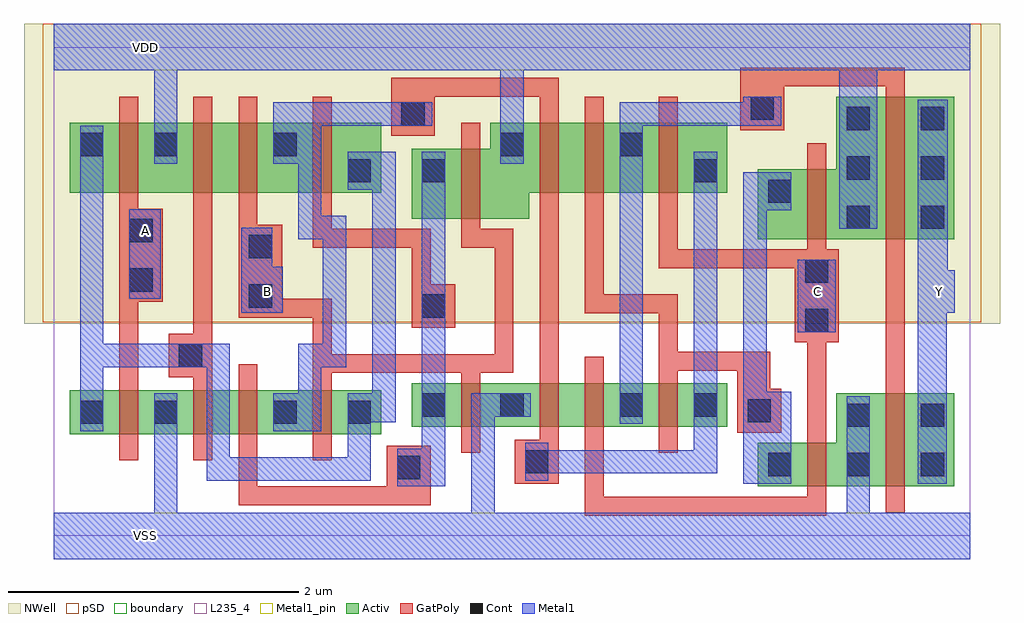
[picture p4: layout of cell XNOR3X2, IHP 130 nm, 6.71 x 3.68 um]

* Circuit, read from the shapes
.subckt XNOR3X2 A B C VDD VSS Y
XM1 VSS A n1 VSUBS sg13_lv_nmos w=0.3u l=0.13u
XM2 n2 n1 VSS VSUBS sg13_lv_nmos w=0.3u l=0.13u
XM3 n3 n4 n2 VSUBS sg13_lv_nmos w=0.3u l=0.13u
XM4 n1 B n3 VSUBS sg13_lv_nmos w=0.3u l=0.13u
XM5 VSS B n4 VSUBS sg13_lv_nmos w=0.3u l=0.13u
XM6 n5 n3 VSS VSUBS sg13_lv_nmos w=0.3u l=0.13u
XM7 n6 C n5 VSUBS sg13_lv_nmos w=0.3u l=0.13u
XM8 n3 n7 n6 VSUBS sg13_lv_nmos w=0.3u l=0.13u
XM9 VSS C n7 VSUBS sg13_lv_nmos w=0.3u l=0.13u
XM10 Y n6 VSS VSUBS sg13_lv_nmos w=0.64u l=0.13u
XM11 VDD A n1 n8 sg13_lv_pmos w=0.48u l=0.13u
XM12 n9 n1 VDD n8 sg13_lv_pmos w=0.48u l=0.13u
XM13 n3 B n9 n8 sg13_lv_pmos w=0.48u l=0.13u
XM14 n1 n4 n3 n8 sg13_lv_pmos w=0.48u l=0.13u
XM15 VDD B n4 n8 sg13_lv_pmos w=0.48u l=0.13u
XM16 n10 n3 VDD n8 sg13_lv_pmos w=0.48u l=0.13u
XM17 n6 n7 n10 n8 sg13_lv_pmos w=0.48u l=0.13u
XM18 n3 C n6 n8 sg13_lv_pmos w=0.48u l=0.13u
XM19 VDD C n7 n8 sg13_lv_pmos w=0.48u l=0.13u
XM20 Y n6 VDD n8 sg13_lv_pmos w=0.98u l=0.13u
.ends

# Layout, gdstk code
import gdstk
lib = gdstk.Library(unit=1e-6, precision=1e-09)
def R(c, l, rs):  # rectangles x0, y0, x1, y1
    for r in rs: c.add(gdstk.rectangle(r[:2], r[2:], *l))
def A(c, l, x, y, w, h, nx, ny, dx, dy):  # array of equal rectangles
    R(c, l, [(x+i*dx, y+j*dy, x+i*dx+w, y+j*dy+h) for i in range(nx) for j in range(ny)])
def P(c, l, *ps):  # polygons
    for p in ps: c.add(gdstk.Polygon(p, *l))
Activ = (1, 0)
GatPoly = (5, 0)
Cont = (6, 0)
Metal1 = (8, 0)
Metal1_pin = (8, 2)
pSD = (14, 0)
NWell = (31, 0)
boundary = (189, 4)
L235_4 = (235, 4)

xnor3x2 = lib.new_cell('XNOR3X2')
R(xnor3x2, Activ, [(0.11,0.7,2.25,1), (2.46,0.75,4.63,1.05), (0.11,2.36,2.25,2.84)])
P(xnor3x2, Activ, [(4.84,0.34),(4.84,0.64),(5.38,0.64),(5.38,0.98),(6.19,0.98),(6.19,0.34)],
  [(4.84,2.04),(4.84,2.52),(5.38,2.52),(5.38,3.02),(6.19,3.02),(6.19,2.04)],
  [(2.46,2.18),(2.46,2.66),(3,2.66),(3,2.84),(4.63,2.84),(4.63,2.36),(3.27,2.36),(3.27,2.18)])
P(xnor3x2, GatPoly, [(3.65,0.14),(3.65,1.23),(3.78,1.23),(3.78,0.27),(5.18,0.27),(5.18,1.33),(5.095,1.33),(5.095,1.84),(4.16,1.84),(4.16,3.02),(4.29,3.02),(4.29,1.97),(5.18,1.97),(5.18,2.7),(5.31,2.7),(5.31,1.97),(5.395,1.97),(5.395,1.33),(5.31,1.33),(5.31,0.14)],
  [(0.45,0.52),(0.45,3.02),(0.58,3.02),(0.58,2.25),(0.75,2.25),(0.75,1.61),(0.58,1.61),(0.58,0.52)],
  [(1.78,0.52),(1.78,1.5),(1.27,1.5),(1.27,3.02),(1.4,3.02),(1.4,2.14),(1.57,2.14),(1.57,1.63),(1.91,1.63),(1.91,1.25),(3.03,1.25),(3.03,1.98),(2.8,1.98),(2.8,2.84),(2.93,2.84),(2.93,2.11),(3.16,2.11),(3.16,1.12),(2.93,1.12),(2.93,0.57),(2.8,0.57),(2.8,1.12),(1.91,1.12),(1.91,0.52)],
  [(5.72,0.16),(5.72,3.09),(5.02,3.09),(5.02,2.79),(4.72,2.79),(4.72,3.22),(5.85,3.22),(5.85,0.16)],
  [(4.16,0.57),(4.16,1.53),(3.65,1.53),(3.65,3.02),(3.78,3.02),(3.78,1.66),(4.29,1.66),(4.29,1.265),(4.925,1.265),(4.925,1.01),(5,1.01),(5,0.71),(4.7,0.71),(4.7,1.135),(4.29,1.135),(4.29,0.57)],
  [(3.17,0.36),(3.17,0.66),(3.34,0.66),(3.34,3.02),(2.62,3.02),(2.62,2.75),(2.32,2.75),(2.32,3.15),(3.47,3.15),(3.47,0.36)],
  [(2.46,1.43),(2.46,1.98),(1.78,1.98),(1.78,3.02),(1.91,3.02),(1.91,2.11),(2.59,2.11),(2.59,1.73),(2.76,1.73),(2.76,1.43)],
  [(1.27,0.21),(1.27,1.18),(1.4,1.18),(1.4,0.34),(2.29,0.34),(2.29,0.62),(2.59,0.62),(2.59,0.21)],
  [(0.96,0.52),(0.96,1.09),(0.79,1.09),(0.79,1.39),(0.96,1.39),(0.96,3.02),(1.09,3.02),(1.09,0.52)])
A(xnor3x2, Cont, 5.45, 2.11, 0.16, 0.16, 1, 3, 0, 0.34)
A(xnor3x2, Cont, 5.96, 2.11, 0.16, 0.16, 1, 3, 0, 0.34)
R(xnor3x2, Cont, [(2.36,0.39,2.52,0.55), (4.91,0.41,5.07,0.57), (5.45,0.41,5.61,0.57), (5.96,0.41,6.12,0.57), (3.24,0.43,3.4,0.59), (5.45,0.75,5.61,0.91), (5.96,0.75,6.12,0.91), (0.18,0.77,0.34,0.93), (0.69,0.77,0.85,0.93), (1.51,0.77,1.67,0.93), (2.02,0.77,2.18,0.93), (4.77,0.78,4.93,0.94), (2.53,0.82,2.69,0.98), (3.07,0.82,3.23,0.98), (3.89,0.82,4.05,0.98), (4.4,0.82,4.56,0.98), (0.86,1.16,1.02,1.32), (5.165,1.4,5.325,1.56), (2.53,1.5,2.69,1.66), (1.34,1.57,1.5,1.73), (0.52,1.68,0.68,1.84), (5.165,1.74,5.325,1.9), (1.34,1.91,1.5,2.07), (0.52,2.02,0.68,2.18), (4.91,2.29,5.07,2.45), (2.02,2.43,2.18,2.59), (2.53,2.43,2.69,2.59), (4.4,2.43,4.56,2.59), (0.18,2.61,0.34,2.77), (0.69,2.61,0.85,2.77), (1.51,2.61,1.67,2.77), (3.07,2.61,3.23,2.77), (3.89,2.61,4.05,2.77), (2.39,2.82,2.55,2.98), (4.79,2.86,4.95,3.02)])
R(xnor3x2, Metal1, [(5.115,1.4,5.375,1.9), (0.52,1.63,0.735,2.245)])
P(xnor3x2, Metal1, [(1.29,1.535),(1.29,2.12),(1.5,2.12),(1.5,1.85),(1.575,1.85),(1.575,1.535)],
  [(5.94,0.36),(5.94,3),(6.145,3),(6.145,1.825),(6.195,1.825),(6.195,1.535),(6.14,1.535),(6.14,0.36)],
  [(0,-0.16),(0,0.16),(0.69,0.16),(0.69,0.98),(0.85,0.98),(0.85,0.16),(2.87,0.16),(2.87,0.98),(3.28,0.98),(3.28,0.82),(3.03,0.82),(3.03,0.16),(5.45,0.16),(5.45,0.96),(5.61,0.96),(5.61,0.16),(6.3,0.16),(6.3,-0.16)],
  [(5.4,2.11),(5.4,3.2),(3.23,3.2),(3.23,2.56),(3.07,2.56),(3.07,3.2),(0.85,3.2),(0.85,2.56),(0.69,2.56),(0.69,3.2),(0,3.2),(0,3.52),(6.3,3.52),(6.3,3.2),(5.66,3.2),(5.66,2.11)],
  [(4.74,0.36),(4.74,2.5),(5.07,2.5),(5.07,2.24),(4.9,2.24),(4.9,0.99),(5.07,0.99),(5.07,0.36)],
  [(3.89,0.77),(3.89,2.98),(4.74,2.98),(4.74,3.02),(5,3.02),(5,2.82),(4.05,2.82),(4.05,0.77)],
  [(3.24,0.38),(3.24,0.64),(3.4,0.64),(3.4,0.59),(4.4,0.59),(4.4,2.64),(4.56,2.64),(4.56,0.43),(3.4,0.43),(3.4,0.38)],
  [(2.36,0.34),(2.36,0.6),(2.53,0.6),(2.53,2.64),(2.69,2.64),(2.69,0.34)],
  [(1.51,0.72),(1.51,0.98),(1.68,0.98),(1.68,1.32),(1.85,1.32),(1.85,2.04),(1.68,2.04),(1.68,2.56),(1.51,2.56),(1.51,2.98),(2.6,2.98),(2.6,2.82),(1.84,2.82),(1.84,2.2),(2.01,2.2),(2.01,1.16),(1.84,1.16),(1.84,0.72)],
  [(1.05,0.38),(1.05,1.16),(0.34,1.16),(0.34,0.72),(0.18,0.72),(0.18,2.82),(0.34,2.82),(0.34,1.32),(1.21,1.32),(1.21,0.54),(2.02,0.54),(2.02,0.98),(2.19,0.98),(2.19,2.38),(2.02,2.38),(2.02,2.64),(2.35,2.64),(2.35,0.78),(2.18,0.78),(2.18,0.38)])
R(xnor3x2, Metal1_pin, [(0,-0.16,6.3,0.16), (5.115,1.4,5.375,1.9), (1.29,1.535,1.575,1.85), (5.94,1.535,6.195,1.825), (0.52,1.63,0.735,2.245), (0,3.2,6.3,3.52)])
P(xnor3x2, Metal1_pin, [(5.94,0.36),(5.94,3),(6.145,3),(6.145,1.825),(6.195,1.825),(6.195,1.535),(6.14,1.535),(6.14,0.36)],
  [(1.29,1.535),(1.29,2.12),(1.5,2.12),(1.5,1.85),(1.575,1.85),(1.575,1.535)])
R(xnor3x2, pSD, [(-0.075,1.47,6.375,3.52)])
R(xnor3x2, NWell, [(-0.205,1.46,6.505,3.52)])
R(xnor3x2, boundary, [(0,0,6.3,3.36)])
R(xnor3x2, L235_4, [(0,0,6.3,3.36)])
xnor3x2.add(gdstk.Label('C', (5.25,1.68), layer=8, texttype=25))
xnor3x2.add(gdstk.Label('VSS', (0.63,0), layer=8, texttype=25))
xnor3x2.add(gdstk.Label('A', (0.63,2.1), layer=8, texttype=25))
xnor3x2.add(gdstk.Label('B', (1.47,1.68), layer=8, texttype=25))
xnor3x2.add(gdstk.Label('VDD', (0.63,3.36), layer=8, texttype=25))
xnor3x2.add(gdstk.Label('Y', (6.09,1.68), layer=8, texttype=25))

lib.write_gds('XNOR3X2.gds')
